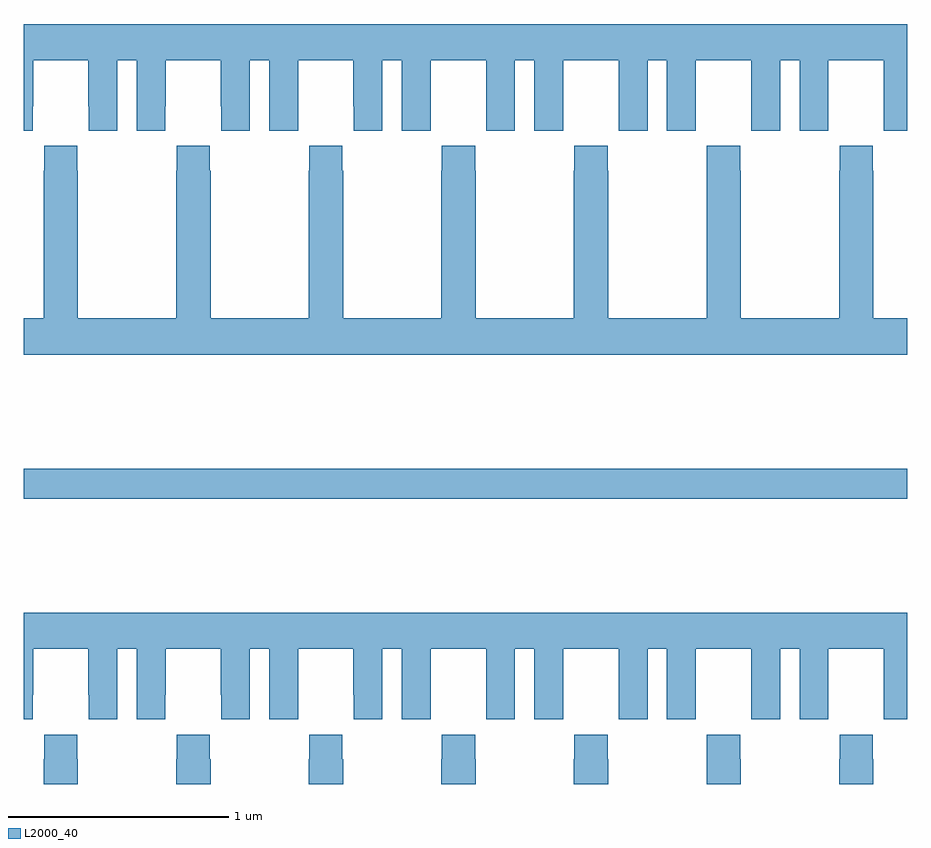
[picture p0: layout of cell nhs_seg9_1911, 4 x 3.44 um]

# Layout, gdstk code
import gdstk
lib = gdstk.Library(unit=1e-6, precision=1e-09)
def R(c, l, rs):  # rectangles x0, y0, x1, y1
    for r in rs: c.add(gdstk.rectangle(r[:2], r[2:], *l))
def P(c, l, *ps):  # polygons
    for p in ps: c.add(gdstk.Polygon(p, *l))
L2000_40 = (2000, 40)

nhs_seg9_1911 = lib.new_cell('nhs_seg9_1911')
R(nhs_seg9_1911, L2000_40, [(219,1171.792,223,1171.928)])
P(nhs_seg9_1911, L2000_40, [(219.042,1173.568),(219.043,1173.568),(219.043,1173.776),(219.293,1173.776),(219.293,1173.568),(219.294,1173.568),(219.294,1173.456),(219.424,1173.456),(219.424,1173.776),(219.512,1173.776),(219.512,1173.456),(219.642,1173.456),(219.642,1173.568),(219.643,1173.568),(219.643,1173.776),(219.893,1173.776),(219.893,1173.568),(219.894,1173.568),(219.894,1173.456),(220.024,1173.456),(220.024,1173.776),(220.112,1173.776),(220.112,1173.456),(220.242,1173.456),(220.242,1173.568),(220.243,1173.568),(220.243,1173.776),(220.493,1173.776),(220.493,1173.568),(220.494,1173.568),(220.494,1173.456),(220.624,1173.456),(220.624,1173.776),(220.712,1173.776),(220.712,1173.456),(220.842,1173.456),(220.842,1173.568),(220.843,1173.568),(220.843,1173.776),(221.093,1173.776),(221.093,1173.568),(221.094,1173.568),(221.094,1173.456),(221.224,1173.456),(221.224,1173.776),(221.312,1173.776),(221.312,1173.456),(221.442,1173.456),(221.442,1173.568),(221.443,1173.568),(221.443,1173.776),(221.693,1173.776),(221.693,1173.568),(221.694,1173.568),(221.694,1173.456),(221.824,1173.456),(221.824,1173.776),(221.912,1173.776),(221.912,1173.456),(222.042,1173.456),(222.042,1173.568),(222.043,1173.568),(222.043,1173.776),(222.293,1173.776),(222.293,1173.568),(222.294,1173.568),(222.294,1173.456),(222.424,1173.456),(222.424,1173.776),(222.512,1173.776),(222.512,1173.456),(222.642,1173.456),(222.642,1173.568),(222.643,1173.568),(222.643,1173.776),(222.893,1173.776),(222.893,1173.568),(222.894,1173.568),(222.894,1173.456),(223,1173.456),(223,1173.94),(219,1173.94),(219,1173.456),(219.042,1173.456)],
  [(223,1172.608),(222.846,1172.608),(222.846,1173.275),(222.843,1173.275),(222.843,1173.388),(222.693,1173.388),(222.693,1173.275),(222.691,1173.275),(222.691,1172.608),(222.246,1172.608),(222.246,1173.275),(222.243,1173.275),(222.243,1173.388),(222.093,1173.388),(222.093,1173.275),(222.091,1173.275),(222.091,1172.608),(221.646,1172.608),(221.646,1173.275),(221.643,1173.275),(221.643,1173.388),(221.493,1173.388),(221.493,1173.275),(221.491,1173.275),(221.491,1172.608),(221.046,1172.608),(221.046,1173.275),(221.043,1173.275),(221.043,1173.388),(220.893,1173.388),(220.893,1173.275),(220.891,1173.275),(220.891,1172.608),(220.446,1172.608),(220.446,1173.275),(220.443,1173.275),(220.443,1173.388),(220.293,1173.388),(220.293,1173.275),(220.291,1173.275),(220.291,1172.608),(219.846,1172.608),(219.846,1173.275),(219.843,1173.275),(219.843,1173.388),(219.693,1173.388),(219.693,1173.275),(219.691,1173.275),(219.691,1172.608),(219.246,1172.608),(219.246,1173.275),(219.243,1173.275),(219.243,1173.388),(219.093,1173.388),(219.093,1173.275),(219.091,1173.275),(219.091,1172.608),(219,1172.608),(219,1172.444),(223,1172.444)],
  [(219.042,1170.904),(219.043,1170.904),(219.043,1171.112),(219.293,1171.112),(219.293,1170.904),(219.294,1170.904),(219.294,1170.792),(219.424,1170.792),(219.424,1171.112),(219.512,1171.112),(219.512,1170.792),(219.642,1170.792),(219.642,1170.904),(219.643,1170.904),(219.643,1171.112),(219.893,1171.112),(219.893,1170.904),(219.894,1170.904),(219.894,1170.792),(220.024,1170.792),(220.024,1171.112),(220.112,1171.112),(220.112,1170.792),(220.242,1170.792),(220.242,1170.904),(220.243,1170.904),(220.243,1171.112),(220.493,1171.112),(220.493,1170.904),(220.494,1170.904),(220.494,1170.792),(220.624,1170.792),(220.624,1171.112),(220.712,1171.112),(220.712,1170.792),(220.842,1170.792),(220.842,1170.904),(220.843,1170.904),(220.843,1171.112),(221.093,1171.112),(221.093,1170.904),(221.094,1170.904),(221.094,1170.792),(221.224,1170.792),(221.224,1171.112),(221.312,1171.112),(221.312,1170.792),(221.442,1170.792),(221.442,1170.904),(221.443,1170.904),(221.443,1171.112),(221.693,1171.112),(221.693,1170.904),(221.694,1170.904),(221.694,1170.792),(221.824,1170.792),(221.824,1171.112),(221.912,1171.112),(221.912,1170.792),(222.042,1170.792),(222.042,1170.904),(222.043,1170.904),(222.043,1171.112),(222.293,1171.112),(222.293,1170.904),(222.294,1170.904),(222.294,1170.792),(222.424,1170.792),(222.424,1171.112),(222.512,1171.112),(222.512,1170.792),(222.642,1170.792),(222.642,1170.904),(222.643,1170.904),(222.643,1171.112),(222.893,1171.112),(222.893,1170.904),(222.894,1170.904),(222.894,1170.792),(223,1170.792),(223,1171.276),(219,1171.276),(219,1170.792),(219.042,1170.792)],
  [(222.846,1170.611),(222.843,1170.611),(222.843,1170.724),(222.693,1170.724),(222.693,1170.611),(222.691,1170.611),(222.691,1170.5),(222.846,1170.5)],
  [(219.846,1170.611),(219.843,1170.611),(219.843,1170.724),(219.693,1170.724),(219.693,1170.611),(219.691,1170.611),(219.691,1170.5),(219.846,1170.5)],
  [(219.246,1170.611),(219.243,1170.611),(219.243,1170.724),(219.093,1170.724),(219.093,1170.611),(219.091,1170.611),(219.091,1170.5),(219.246,1170.5)],
  [(220.446,1170.611),(220.443,1170.611),(220.443,1170.724),(220.293,1170.724),(220.293,1170.611),(220.291,1170.611),(220.291,1170.5),(220.446,1170.5)],
  [(221.046,1170.611),(221.043,1170.611),(221.043,1170.724),(220.893,1170.724),(220.893,1170.611),(220.891,1170.611),(220.891,1170.5),(221.046,1170.5)],
  [(221.646,1170.611),(221.643,1170.611),(221.643,1170.724),(221.493,1170.724),(221.493,1170.611),(221.491,1170.611),(221.491,1170.5),(221.646,1170.5)],
  [(222.246,1170.611),(222.243,1170.611),(222.243,1170.724),(222.093,1170.724),(222.093,1170.611),(222.091,1170.611),(222.091,1170.5),(222.246,1170.5)])

lib.write_gds('nhs_seg9_1911.gds')
